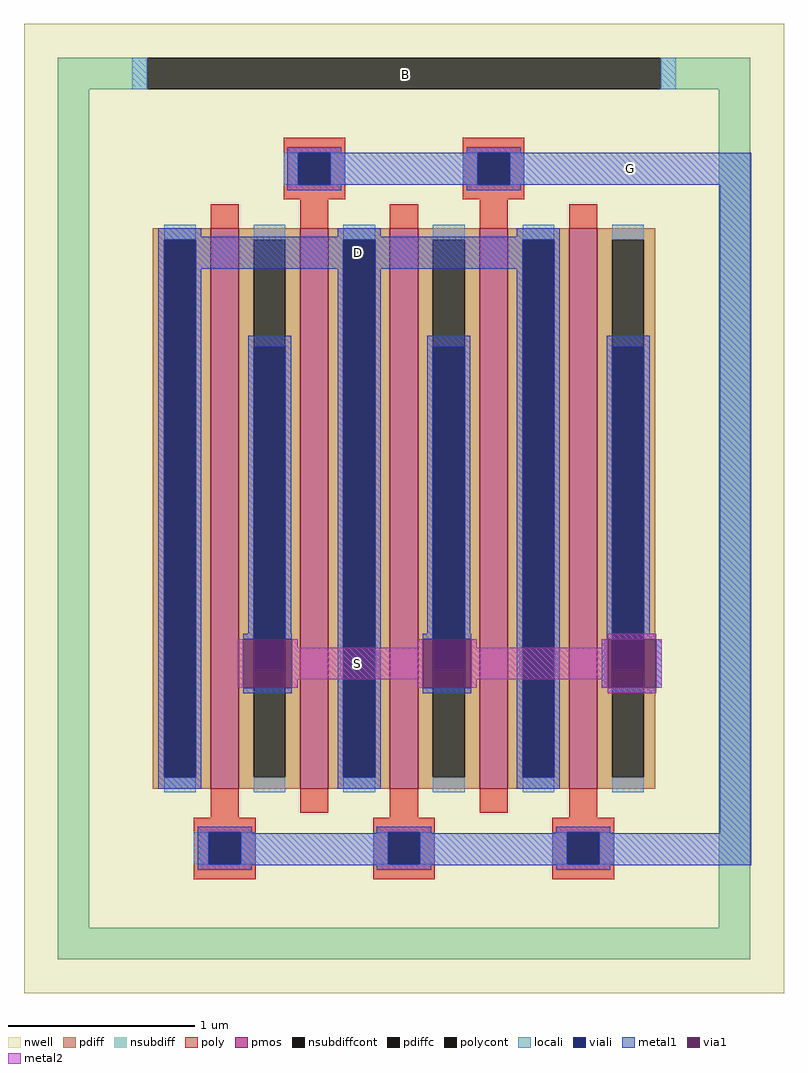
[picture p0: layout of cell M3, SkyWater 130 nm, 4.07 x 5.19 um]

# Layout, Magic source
magic
tech sky130B
magscale 1 2
<< nwell >>
rect -407 -519 407 519
<< pmos >>
rect -207 -300 -177 300
rect -111 -300 -81 300
rect -15 -300 15 300
rect 81 -300 111 300
rect 177 -300 207 300
<< pdiff >>
rect -269 288 -207 300
rect -269 -288 -257 288
rect -223 -288 -207 288
rect -269 -300 -207 -288
rect -177 288 -111 300
rect -177 -288 -161 288
rect -127 -288 -111 288
rect -177 -300 -111 -288
rect -81 288 -15 300
rect -81 -288 -65 288
rect -31 -288 -15 288
rect -81 -300 -15 -288
rect 15 288 81 300
rect 15 -288 31 288
rect 65 -288 81 288
rect 15 -300 81 -288
rect 111 288 177 300
rect 111 -288 127 288
rect 161 -288 177 288
rect 111 -300 177 -288
rect 207 288 269 300
rect 207 -288 223 288
rect 257 -288 269 288
rect 207 -300 269 -288
<< pdiffc >>
rect -257 -288 -223 288
rect -161 -288 -127 288
rect -65 -288 -31 288
rect 31 -288 65 288
rect 127 -288 161 288
rect 223 -288 257 288
<< nsubdiff >>
rect -371 449 -275 483
rect 275 449 371 483
rect -371 -449 -337 449
rect 337 -449 371 449
rect -371 -483 371 -449
<< nsubdiffcont >>
rect -275 449 275 483
<< poly >>
rect -129 381 -63 397
rect -129 347 -113 381
rect -79 347 -63 381
rect -129 331 -63 347
rect 63 381 129 397
rect 63 347 79 381
rect 113 347 129 381
rect 63 331 129 347
rect -207 300 -177 326
rect -111 300 -81 331
rect -15 300 15 326
rect 81 300 111 331
rect 177 300 207 326
rect -207 -331 -177 -300
rect -111 -326 -81 -300
rect -15 -331 15 -300
rect 81 -326 111 -300
rect 177 -331 207 -300
rect -225 -347 -159 -331
rect -225 -381 -209 -347
rect -175 -381 -159 -347
rect -225 -397 -159 -381
rect -33 -347 33 -331
rect -33 -381 -17 -347
rect 17 -381 33 -347
rect -33 -397 33 -381
rect 159 -347 225 -331
rect 159 -381 175 -347
rect 209 -381 225 -347
rect 159 -397 225 -381
<< polycont >>
rect -113 347 -79 381
rect 79 347 113 381
rect -209 -381 -175 -347
rect -17 -381 17 -347
rect 175 -381 209 -347
<< locali >>
rect -291 449 -275 483
rect 275 449 291 483
rect -129 347 -113 381
rect -79 347 -63 381
rect 63 347 79 381
rect 113 347 129 381
rect -257 288 -223 304
rect -257 -304 -223 -288
rect -161 288 -127 304
rect -161 -304 -127 -288
rect -65 288 -31 304
rect -65 -304 -31 -288
rect 31 288 65 304
rect 31 -304 65 -288
rect 127 288 161 304
rect 127 -304 161 -288
rect 223 288 257 304
rect 223 -304 257 -288
rect -225 -381 -209 -347
rect -175 -381 -159 -347
rect -33 -381 -17 -347
rect 17 -381 33 -347
rect 159 -381 175 -347
rect 209 -381 225 -347
<< viali >>
rect -113 347 -79 381
rect 79 347 113 381
rect -257 -288 -223 288
rect -161 -173 -127 173
rect -65 -288 -31 288
rect 31 -173 65 173
rect 127 -288 161 288
rect 223 -173 257 173
rect -209 -381 -175 -347
rect -17 -381 17 -347
rect 175 -381 209 -347
<< metal1 >>
rect -125 381 -67 387
rect 67 381 125 387
rect -125 347 -113 381
rect -79 347 79 381
rect 113 347 372 381
rect -125 341 -67 347
rect 67 341 125 347
rect -263 291 -217 300
rect -71 291 -25 300
rect 121 291 167 300
rect -263 288 167 291
rect -263 -288 -257 288
rect -223 257 -65 288
rect -223 -288 -217 257
rect -167 173 -121 185
rect -167 -134 -161 173
rect -172 -140 -161 -134
rect -127 -134 -121 173
rect -127 -140 -120 -134
rect -172 -198 -120 -192
rect -263 -300 -217 -288
rect -71 -288 -65 257
rect -31 257 127 288
rect -31 -288 -25 257
rect 25 173 71 185
rect 25 -134 31 173
rect 20 -140 31 -134
rect 65 -134 71 173
rect 65 -140 72 -134
rect 20 -198 72 -192
rect -71 -300 -25 -288
rect 121 -288 127 257
rect 161 -288 167 288
rect 217 173 263 185
rect 217 -140 223 173
rect 257 -134 263 173
rect 257 -140 270 -134
rect 212 -192 218 -140
rect 270 -192 276 -140
rect 218 -198 270 -192
rect 121 -300 167 -288
rect -221 -347 -163 -341
rect -221 -381 -209 -347
rect -175 -348 -163 -347
rect -29 -347 29 -341
rect -29 -348 -17 -347
rect -175 -381 -17 -348
rect 17 -348 29 -347
rect 163 -347 221 -341
rect 163 -348 175 -347
rect 17 -381 175 -348
rect 209 -348 221 -347
rect 338 -348 372 347
rect 209 -381 372 -348
rect -221 -382 372 -381
rect -221 -387 -163 -382
rect -29 -387 29 -382
rect 163 -387 221 -382
<< via1 >>
rect -172 -173 -161 -140
rect -161 -173 -127 -140
rect -127 -173 -120 -140
rect -172 -192 -120 -173
rect 20 -173 31 -140
rect 31 -173 65 -140
rect 65 -173 72 -140
rect 20 -192 72 -173
rect 218 -173 223 -140
rect 223 -173 257 -140
rect 257 -173 270 -140
rect 218 -192 270 -173
<< metal2 >>
rect 218 -140 270 -134
rect -178 -192 -172 -140
rect -120 -149 -114 -140
rect 14 -149 20 -140
rect -120 -183 20 -149
rect -120 -192 -114 -183
rect 14 -192 20 -183
rect 72 -149 78 -140
rect 212 -149 218 -140
rect 72 -183 218 -149
rect 72 -192 78 -183
rect 212 -192 218 -183
rect 270 -192 276 -140
rect 218 -198 270 -192
<< labels >>
flabel metal1 -258 257 160 291 0 FreeSans 480 0 0 0 D
port 0 nsew
flabel metal2 s -120 -183 20 -149 0 FreeSans 480 0 0 0 S
port 1 nsew
flabel metal1 113 347 372 381 0 FreeSans 480 0 0 0 G
port 2 nsew
flabel nsubdiffcont 2 465 2 465 0 FreeSans 480 0 0 0 B
port 3 nsew
<< properties >>
string FIXED_BBOX -354 -466 354 466
string gencell sky130_fd_pr__pfet_01v8
string library sky130
string parameters w 3 l 0.15 m 1 nf 5 diffcov 100 polycov 100 guard 1 glc 0 grc 0 gtc 1 gbc 0 tbcov 100 rlcov 100 topc 0 botc 1 poverlap 0 doverlap 1 lmin 0.15 wmin 0.42 compatible {sky130_fd_pr__pfet_01v8  sky130_fd_pr__pfet_01v8_lvt sky130_fd_pr__pfet_01v8_hvt  sky130_fd_pr__pfet_g5v0d10v5} full_metal 0 viasrc 60 viadrn 100 viagate 100 viagb 0 viagr 0 viagl 0 viagt 0
<< end >>
